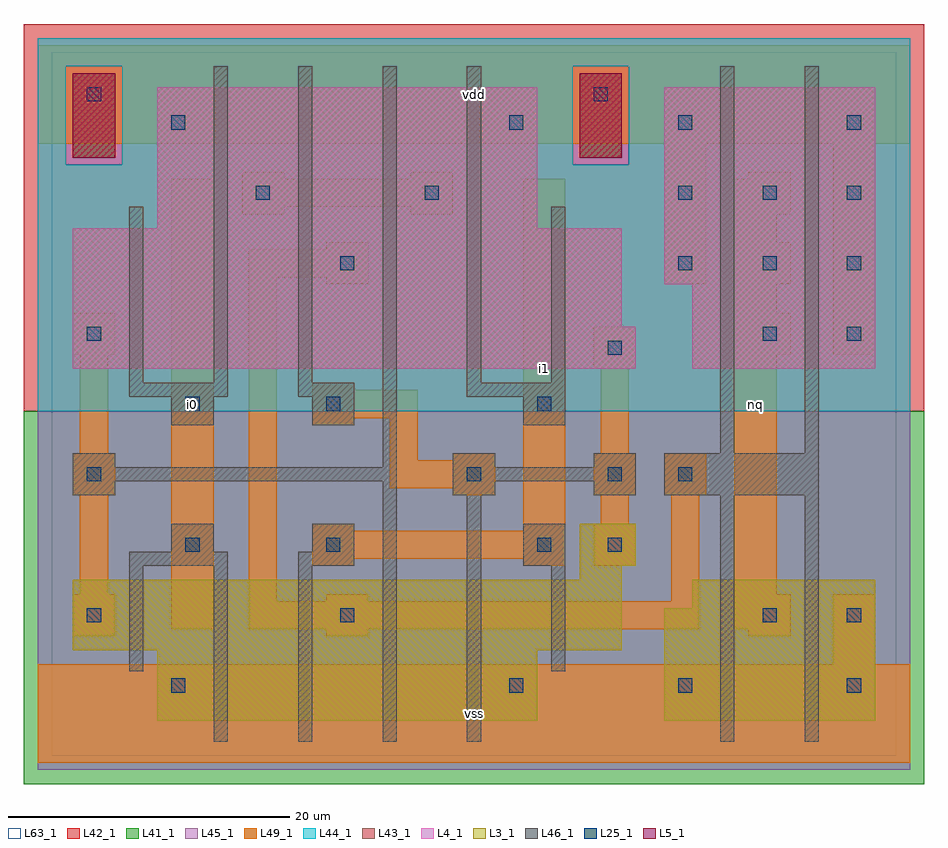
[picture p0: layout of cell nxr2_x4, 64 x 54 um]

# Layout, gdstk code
import gdstk
lib = gdstk.Library(unit=1e-6, precision=1e-09)
def R(c, l, rs):  # rectangles x0, y0, x1, y1
    for r in rs: c.add(gdstk.rectangle(r[:2], r[2:], *l))
def A(c, l, x, y, w, h, nx, ny, dx, dy):  # array of equal rectangles
    R(c, l, [(x+i*dx, y+j*dy, x+i*dx+w, y+j*dy+h) for i in range(nx) for j in range(ny)])
L3_1 = (3, 1)
L4_1 = (4, 1)
L5_1 = (5, 1)
L25_1 = (25, 1)
L41_1 = (41, 1)
L42_1 = (42, 1)
L43_1 = (43, 1)
L44_1 = (44, 1)
L45_1 = (45, 1)
L46_1 = (46, 1)
L49_1 = (49, 1)
L63_1 = (63, 1)

nxr2_x4 = lib.new_cell('nxr2_x4')
R(nxr2_x4, L3_1, [(7.5,2.5,34.5,7.5), (43.5,2.5,58.5,10.5), (1.5,7.5,40.5,12.5), (45.5,10.5,58.5,12.5), (37.5,12.5,40.5,13.5), (37.5,13.5,41.5,16.5)])
R(nxr2_x4, L4_1, [(1.5,27.5,41.5,30.5), (45.5,27.5,58.5,33.5), (1.5,30.5,40.5,37.5), (43.5,33.5,58.5,47.5), (7.5,37.5,34.5,47.5)])
R(nxr2_x4, L5_1, [(1.5,42.5,4.5,48.5), (37.5,42.5,40.5,48.5)])
A(nxr2_x4, L25_1, 32.5, 4.5, 1, 1, 3, 2, 12, 40)
A(nxr2_x4, L25_1, 2.5, 9.5, 1, 1, 1, 3, 0, 10)
A(nxr2_x4, L25_1, 44.5, 34.5, 1, 1, 3, 2, 6, 5)
R(nxr2_x4, L25_1, [(8.5,4.5,9.5,5.5), (20.5,9.5,21.5,10.5), (50.5,9.5,51.5,10.5), (56.5,9.5,57.5,10.5), (9.5,14.5,10.5,15.5), (19.5,14.5,20.5,15.5), (34.5,14.5,35.5,15.5), (39.5,14.5,40.5,15.5), (29.5,19.5,30.5,20.5), (39.5,19.5,40.5,20.5), (44.5,19.5,45.5,20.5), (9.5,24.5,10.5,25.5), (19.5,24.5,20.5,25.5), (34.5,24.5,35.5,25.5), (39.5,28.5,40.5,29.5), (50.5,29.5,51.5,30.5), (56.5,29.5,57.5,30.5), (20.5,34.5,21.5,35.5), (14.5,39.5,15.5,40.5), (26.5,39.5,27.5,40.5), (8.5,44.5,9.5,45.5), (2.5,46.5,3.5,47.5), (38.5,46.5,39.5,47.5)])
R(nxr2_x4, L41_1, [(-2,-2,62,24.5)])
R(nxr2_x4, L42_1, [(-2,24.5,62,52)])
R(nxr2_x4, L43_1, [(7.5,2.5,34.5,7.5), (43.5,2.5,58.5,10.5), (1.5,7.5,40.5,12.5), (45.5,10.5,58.5,12.5), (37.5,12.5,40.5,13.5), (37.5,13.5,41.5,16.5), (1.5,27.5,41.5,30.5), (45.5,27.5,58.5,33.5), (1.5,30.5,40.5,37.5), (43.5,33.5,58.5,47.5), (7.5,37.5,34.5,47.5), (1.5,42.5,4.5,48.5), (37.5,42.5,40.5,48.5)])
R(nxr2_x4, L44_1, [(-1,24.5,61,42), (-1,42,1,49), (5,42,37,49), (41,42,61,49), (-1,49,61,51)])
R(nxr2_x4, L45_1, [(-1,-1,61,24.5), (1,42,5,49), (37,42,41,49)])
R(nxr2_x4, L46_1, [(11.5,1,12.5,13.5), (17.5,1,18.5,13.5), (23.5,1,24.5,19.5), (29.5,1,30.5,18.5), (47.5,1,48.5,18.5), (53.5,1,54.5,18.5), (5.5,6,6.5,13.5), (35.5,6,36.5,13.5), (5.5,13.5,12.5,14.5), (17.5,13.5,21.5,14.5), (33.5,13.5,36.5,16.5), (8.5,14.5,11.5,16.5), (18.5,14.5,21.5,16.5), (1.5,18.5,4.5,19.5), (28.5,18.5,31.5,19.5), (38.5,18.5,41.5,19.5), (43.5,18.5,54.5,21.5), (1.5,19.5,24.5,20.5), (28.5,19.5,41.5,20.5), (1.5,20.5,4.5,21.5), (23.5,20.5,24.5,49), (28.5,20.5,31.5,21.5), (38.5,20.5,41.5,21.5), (47.5,21.5,48.5,49), (53.5,21.5,54.5,49), (8.5,23.5,11.5,25.5), (18.5,23.5,21.5,25.5), (33.5,23.5,36.5,25.5), (5.5,25.5,12.5,26.5), (17.5,25.5,21.5,26.5), (29.5,25.5,36.5,26.5), (5.5,26.5,6.5,39), (11.5,26.5,12.5,49), (17.5,26.5,18.5,49), (29.5,26.5,30.5,49), (35.5,26.5,36.5,39)])
A(nxr2_x4, L49_1, 1.5, 8.5, 3, 3, 1, 3, 0, 10)
R(nxr2_x4, L49_1, [(-1,-0.5,61,6.5), (55.5,6.5,58.5,11.5), (19.5,8.5,22.5,9), (49.5,8.5,52.5,9), (8.5,9,11.5,41), (14,9,46,11), (48.5,9,52.5,11.5), (14,11,16,34), (19.5,11,22.5,11.5), (44,11,46,18.5), (2,11.5,4,18.5), (48.5,11.5,51.5,28.5), (18.5,13.5,21.5,14), (33.5,13.5,36.5,14), (38.5,13.5,41.5,16.5), (18.5,14,36.5,16), (18.5,16,21.5,16.5), (33.5,16,36.5,41), (39,16.5,41,18.5), (28.5,18.5,31.5,19), (38.5,18.5,41.5,21.5), (43.5,18.5,46.5,21.5), (24,19,31.5,21), (24,21,26,24), (28.5,21,31.5,21.5), (2,21.5,4,28.5), (39,21.5,41,27.5), (18.5,23.5,21.5,24), (18.5,24,26,26), (18.5,26,21.5,26.5), (38.5,27.5,41.5,30.5), (48.5,28.5,52.5,31.5), (55.5,28.5,58.5,43.5), (48.5,31.5,51.5,33.5), (19.5,33.5,22.5,34), (43.5,33.5,46.5,43.5), (48.5,33.5,52.5,36.5), (14,34,22.5,36), (19.5,36,22.5,36.5), (48.5,36.5,51.5,38.5), (13.5,38.5,16.5,39), (25.5,38.5,28.5,39), (48.5,38.5,52.5,41), (13.5,39,28.5,41), (13.5,41,16.5,41.5), (25.5,41,28.5,41.5), (49.5,41,52.5,41.5), (-1,43.5,61,50.5)])
R(nxr2_x4, L63_1, [(0,0,60,50)])
nxr2_x4.add(gdstk.Label('i0', (10,25), layer=49, texttype=1))
nxr2_x4.add(gdstk.Label('i0', (10,25), layer=49, texttype=1))
nxr2_x4.add(gdstk.Label('vss', (30,3), layer=49, texttype=1))
nxr2_x4.add(gdstk.Label('vss', (30,3), layer=49, texttype=1))
nxr2_x4.add(gdstk.Label('i1', (35,27.5), layer=49, texttype=1))
nxr2_x4.add(gdstk.Label('i1', (35,27.5), layer=49, texttype=1))
nxr2_x4.add(gdstk.Label('vdd', (30,47), layer=49, texttype=1))
nxr2_x4.add(gdstk.Label('vdd', (30,47), layer=49, texttype=1))
nxr2_x4.add(gdstk.Label('nq', (50,25), layer=49, texttype=1))
nxr2_x4.add(gdstk.Label('nq', (50,25), layer=49, texttype=1))

lib.write_gds('nxr2_x4.gds')
